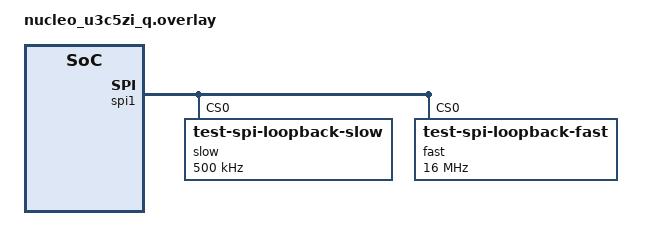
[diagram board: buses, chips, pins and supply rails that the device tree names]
/*
 * SPDX-FileCopyrightText: Copyright The Zephyr Project Contributors
 * SPDX-License-Identifier: Apache-2.0
 */

/* Short PA6 (SPI1_MISO, CN10 pin 13) and PA7 (SPI1_MOSI, CN10 pin 15) */
&spi1 {
	dmas = <&gpdma1 0 7 STM32_DMA_PERIPH_TX>,
	       <&gpdma1 1 6 STM32_DMA_PERIPH_RX>;
	dma-names = "tx", "rx";
	st,fifo-threshold = <8>;

	slow@0 {
		compatible = "test-spi-loopback-slow";
		reg = <0>;
		spi-max-frequency = <500000>;
	};

	fast@0 {
		compatible = "test-spi-loopback-fast";
		reg = <0>;
		spi-max-frequency = <16000000>;
	};
};
